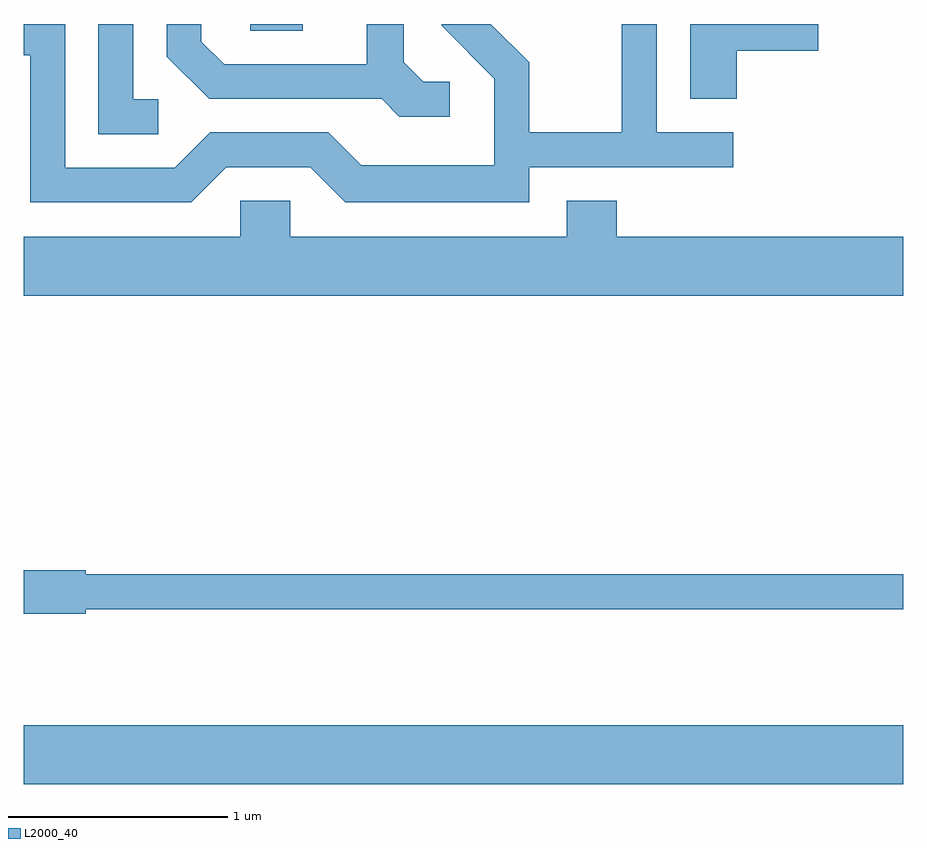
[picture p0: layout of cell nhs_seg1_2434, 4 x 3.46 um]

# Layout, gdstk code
import gdstk
lib = gdstk.Library(unit=1e-6, precision=1e-09)
def R(c, l, rs):  # rectangles x0, y0, x1, y1
    for r in rs: c.add(gdstk.rectangle(r[:2], r[2:], *l))
def P(c, l, *ps):  # polygons
    for p in ps: c.add(gdstk.Polygon(p, *l))
L2000_40 = (2000, 40)

nhs_seg1_2434 = lib.new_cell('nhs_seg1_2434')
R(nhs_seg1_2434, L2000_40, [(259.611,886.256,263.611,886.524), (260.641,889.681,260.879,889.712)])
P(nhs_seg1_2434, L2000_40, [(260.532,889.061),(260.914,889.061),(261.074,888.901),(261.909,888.901),(261.909,889.061),(262.838,889.061),(262.838,889.219),(262.489,889.219),(262.489,889.712),(262.331,889.712),(262.331,889.219),(261.909,889.219),(261.909,889.537),(261.734,889.712),(261.511,889.712),(261.511,889.704),(261.751,889.464),(261.751,889.069),(261.147,889.069),(260.997,889.219),(260.459,889.219),(260.299,889.059),(259.799,889.059),(259.799,889.712),(259.611,889.712),(259.611,889.571),(259.641,889.571),(259.641,888.901),(260.372,888.901)],
  [(262.854,889.591),(263.224,889.591),(263.224,889.712),(262.641,889.712),(262.641,889.371),(262.854,889.371)],
  [(261.548,889.449),(261.427,889.449),(261.339,889.537),(261.339,889.712),(261.171,889.712),(261.171,889.529),(260.522,889.529),(260.419,889.632),(260.419,889.712),(260.261,889.712),(260.261,889.564),(260.454,889.371),(261.239,889.371),(261.319,889.291),(261.548,889.291)],
  [(260.223,889.369),(260.109,889.369),(260.109,889.712),(259.951,889.712),(259.951,889.211),(260.223,889.211)],
  [(263.611,888.744),(262.309,888.744),(262.309,888.909),(262.081,888.909),(262.081,888.744),(260.824,888.744),(260.824,888.909),(260.596,888.909),(260.596,888.744),(259.611,888.744),(259.611,888.476),(263.611,888.476)],
  [(259.894,887.051),(263.611,887.051),(263.611,887.209),(259.894,887.209),(259.894,887.229),(259.611,887.229),(259.611,887.031),(259.894,887.031)])

lib.write_gds('nhs_seg1_2434.gds')
